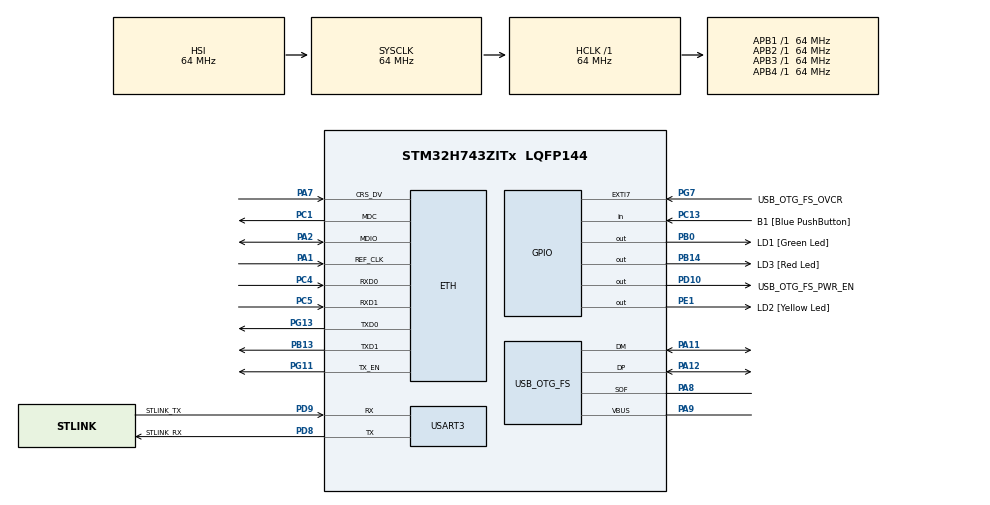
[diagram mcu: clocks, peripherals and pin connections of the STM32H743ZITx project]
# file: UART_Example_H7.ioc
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ETH.MediaInterface=HAL_ETH_RMII_MODE
Mcu.Family=STM32H7
Mcu.Name=STM32H743ZITx
Mcu.Package=LQFP144
NVIC.PriorityGroup=NVIC_PRIORITYGROUP_4
PA1.Mode=RMII
PA1.Signal=ETH_REF_CLK
PA11.Mode=Device_Only
PA11.Signal=USB_OTG_FS_DM
PA12.Mode=Device_Only
PA12.Signal=USB_OTG_FS_DP
PA2.Mode=RMII
PA2.Signal=ETH_MDIO
PA7.Mode=RMII
PA7.Signal=ETH_CRS_DV
PA8.Mode=Activate_SOF_FS
PA8.Signal=USB_OTG_FS_SOF
PA9.Mode=Activate_VBUS
PA9.Signal=USB_OTG_FS_VBUS
PB0.GPIO_Label=LD1 [Green Led]
PB0.Signal=GPIO_Output
PB13.Mode=RMII
PB13.Signal=ETH_TXD1
PB14.GPIO_Label=LD3 [Red Led]
PB14.Signal=GPIO_Output
PC1.Mode=RMII
PC1.Signal=ETH_MDC
PC13.GPIO_Label=B1 [Blue PushButton]
PC13.Signal=GPIO_Input
PC14-OSC32_IN\ (OSC32_IN).Mode=LSE-External-Oscillator
PC14-OSC32_IN\ (OSC32_IN).Signal=RCC_OSC32_IN
PC15-OSC32_OUT\ (OSC32_OUT).Mode=LSE-External-Oscillator
PC15-OSC32_OUT\ (OSC32_OUT).Signal=RCC_OSC32_OUT
PC4.Mode=RMII
PC4.Signal=ETH_RXD0
PC5.Mode=RMII
PC5.Signal=ETH_RXD1
PD10.GPIO_Label=USB_OTG_FS_PWR_EN
PD10.Signal=GPIO_Output
PD8.GPIO_Label=STLINK_RX
PD8.Mode=Asynchronous
PD8.Signal=USART3_TX
PD9.GPIO_Label=STLINK_TX
PD9.Mode=Asynchronous
PD9.Signal=USART3_RX
PE1.GPIO_Label=LD2 [Yellow Led]
PE1.Signal=GPIO_Output
PG11.Mode=RMII
PG11.Signal=ETH_TX_EN
PG13.Mode=RMII
PG13.Signal=ETH_TXD0
PG7.GPIO_Label=USB_OTG_FS_OVCR
PG7.Signal=GPXTI7
PH0-OSC_IN\ (PH0).Mode=HSE-External-Clock-Source
PH0-OSC_IN\ (PH0).Signal=RCC_OSC_IN
PH1-OSC_OUT\ (PH1).Signal=RCC_OSC_OUT
ProjectManager.HeapSize=0x200
ProjectManager.StackSize=0x400
ProjectManager.TargetToolchain=STM32CubeIDE
RCC.ADCFreq_Value=16125000
RCC.APB1Freq_Value=64000000
RCC.APB2Freq_Value=64000000
RCC.APB3Freq_Value=64000000
RCC.APB4Freq_Value=64000000
RCC.CortexFreq_Value=64000000
RCC.DIVM1=1
RCC.DIVN1=24
RCC.DIVQ1=4
RCC.HCLKFreq_Value=64000000
RCC.HSE_VALUE=8000000
RCC.PLLFRACN=0
RCC.PWR_Regulator_Voltage_Scale=PWR_REGULATOR_VOLTAGE_SCALE2
RCC.SYSCLKFreq_VALUE=64000000
RCC.USBFreq_Value=48000000
USART3.VirtualMode-Asynchronous=VM_ASYNC
USB_OTG_FS.VirtualMode=Device_Only
board=NUCLEO-H743ZI2

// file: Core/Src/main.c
/* USER CODE BEGIN Header */
/**
  ******************************************************************************
  * @file           : main.c
  * @brief          : Main program body
  ******************************************************************************
  * @attention
  *
  * <h2><center>&copy; Copyright (c) 2021 STMicroelectronics.
  * All rights reserved.</center></h2>
  *
  * This software component is licensed by ST under BSD 3-Clause license,
  * the "License"; You may not use this file except in compliance with the
  * License. You may obtain a copy of the License at:
  *                        opensource.org/licenses/BSD-3-Clause
  *
  ******************************************************************************
  */
/* USER CODE END Header */
#include "main.h"
#include "string.h"

/* USER CODE BEGIN Includes */
#include <stdio.h>
/* USER CODE END Includes */

#if defined ( __ICCARM__ ) /*!< IAR Compiler */

#pragma location=0x30040000
ETH_DMADescTypeDef  DMARxDscrTab[ETH_RX_DESC_CNT]; /* Ethernet Rx DMA Descriptors */
#pragma location=0x30040060
ETH_DMADescTypeDef  DMATxDscrTab[ETH_TX_DESC_CNT]; /* Ethernet Tx DMA Descriptors */
#pragma location=0x30040200
uint8_t Rx_Buff[ETH_RX_DESC_CNT][ETH_MAX_PACKET_SIZE]; /* Ethernet Receive Buffers */

#elif defined ( __CC_ARM )  /* MDK ARM Compiler */

__attribute__((at(0x30040000))) ETH_DMADescTypeDef  DMARxDscrTab[ETH_RX_DESC_CNT]; /* Ethernet Rx DMA Descriptors */
__attribute__((at(0x30040060))) ETH_DMADescTypeDef  DMATxDscrTab[ETH_TX_DESC_CNT]; /* Ethernet Tx DMA Descriptors */
__attribute__((at(0x30040200))) uint8_t Rx_Buff[ETH_RX_DESC_CNT][ETH_MAX_PACKET_SIZE]; /* Ethernet Receive Buffer */

#elif defined ( __GNUC__ ) /* GNU Compiler */

ETH_DMADescTypeDef DMARxDscrTab[ETH_RX_DESC_CNT] __attribute__((section(".RxDecripSection"))); /* Ethernet Rx DMA Descriptors */
ETH_DMADescTypeDef DMATxDscrTab[ETH_TX_DESC_CNT] __attribute__((section(".TxDecripSection")));   /* Ethernet Tx DMA Descriptors */
uint8_t Rx_Buff[ETH_RX_DESC_CNT][ETH_MAX_PACKET_SIZE] __attribute__((section(".RxArraySection"))); /* Ethernet Receive Buffers */

#endif

ETH_TxPacketConfig TxConfig;

ETH_HandleTypeDef heth;

UART_HandleTypeDef huart3;

PCD_HandleTypeDef hpcd_USB_OTG_FS;

void SystemClock_Config(void);
static void MX_GPIO_Init(void);
static void MX_ETH_Init(void);
static void MX_USART3_UART_Init(void);
static void MX_USB_OTG_FS_PCD_Init(void);
/* USER CODE BEGIN PFP */
#ifdef __GNUC__
/* With GCC, small printf (option LD Linker->Libraries->Small printf
   set to 'Yes') calls __io_putchar() */
#define PUTCHAR_PROTOTYPE int __io_putchar(int ch)
#define GETCHAR_PROTOTYPE int __io_getchar()
#else
#define PUTCHAR_PROTOTYPE int fputc(int ch, FILE *f)
#endif /* __GNUC__ */
/* USER CODE END PFP */

int main(void)
{

  /* MCU Configuration--------------------------------------------------------*/

  /* Reset of all peripherals, Initializes the Flash interface and the Systick. */
  HAL_Init();

  /* Configure the system clock */
  SystemClock_Config();

  /* USER CODE BEGIN SysInit */
  /* Initialize BSP Led for LED2 */
  BSP_LED_Init(LED2);
  /* USER CODE END SysInit */

  /* Initialize all configured peripherals */
  MX_GPIO_Init();
  MX_ETH_Init();
  MX_USART3_UART_Init();
  MX_USB_OTG_FS_PCD_Init();
  /* USER CODE BEGIN 2 */

  /* Output a message on Hyperterminal using printf function */
  printf("\n\r UART Printf Example: retarget the C library printf function to the UART\n\r");
  printf("** Test finished successfully. ** \n\r");

  char str[20];

  setvbuf(stdin, NULL, _IONBF, 0);

  /* USER CODE END 2 */

  /* Infinite loop */
  /* USER CODE BEGIN WHILE */
  while (1)
  {
	printf("\n\r Enter your name:\n\r");

	scanf("%s",str);

	printf("\n\r Your name is: %s \n\r",str);
    /* USER CODE END WHILE */

  }
}

void SystemClock_Config(void)
{
  RCC_OscInitTypeDef RCC_OscInitStruct = {0};
  RCC_ClkInitTypeDef RCC_ClkInitStruct = {0};

  /** Supply configuration update enable
  */
  HAL_PWREx_ConfigSupply(PWR_LDO_SUPPLY);
  /** Configure the main internal regulator output voltage
  */
  __HAL_PWR_VOLTAGESCALING_CONFIG(PWR_REGULATOR_VOLTAGE_SCALE2);

  while(!__HAL_PWR_GET_FLAG(PWR_FLAG_VOSRDY)) {}
  /** Initializes the RCC Oscillators according to the specified parameters
  * in the RCC_OscInitTypeDef structure.
  */
  RCC_OscInitStruct.OscillatorType = RCC_OSCILLATORTYPE_HSI|RCC_OSCILLATORTYPE_HSE;
  RCC_OscInitStruct.HSEState = RCC_HSE_BYPASS;
  RCC_OscInitStruct.HSIState = RCC_HSI_DIV1;
  RCC_OscInitStruct.HSICalibrationValue = RCC_HSICALIBRATION_DEFAULT;
  RCC_OscInitStruct.PLL.PLLState = RCC_PLL_ON;
  RCC_OscInitStruct.PLL.PLLSource = RCC_PLLSOURCE_HSE;
  RCC_OscInitStruct.PLL.PLLM = 1;
  RCC_OscInitStruct.PLL.PLLN = 24;
  RCC_OscInitStruct.PLL.PLLP = 2;
  RCC_OscInitStruct.PLL.PLLQ = 4;
  RCC_OscInitStruct.PLL.PLLR = 2;
  RCC_OscInitStruct.PLL.PLLRGE = RCC_PLL1VCIRANGE_3;
  RCC_OscInitStruct.PLL.PLLVCOSEL = RCC_PLL1VCOWIDE;
  RCC_OscInitStruct.PLL.PLLFRACN = 0;
  if (HAL_RCC_OscConfig(&RCC_OscInitStruct) != HAL_OK)
  {
    Error_Handler();
  }
  /** Initializes the CPU, AHB and APB buses clocks
  */
  RCC_ClkInitStruct.ClockType = RCC_CLOCKTYPE_HCLK|RCC_CLOCKTYPE_SYSCLK
                              |RCC_CLOCKTYPE_PCLK1|RCC_CLOCKTYPE_PCLK2
                              |RCC_CLOCKTYPE_D3PCLK1|RCC_CLOCKTYPE_D1PCLK1;
  RCC_ClkInitStruct.SYSCLKSource = RCC_SYSCLKSOURCE_HSI;
  RCC_ClkInitStruct.SYSCLKDivider = RCC_SYSCLK_DIV1;
  RCC_ClkInitStruct.AHBCLKDivider = RCC_HCLK_DIV1;
  RCC_ClkInitStruct.APB3CLKDivider = RCC_APB3_DIV1;
  RCC_ClkInitStruct.APB1CLKDivider = RCC_APB1_DIV1;
  RCC_ClkInitStruct.APB2CLKDivider = RCC_APB2_DIV1;
  RCC_ClkInitStruct.APB4CLKDivider = RCC_APB4_DIV1;

  if (HAL_RCC_ClockConfig(&RCC_ClkInitStruct, FLASH_LATENCY_1) != HAL_OK)
  {
    Error_Handler();
  }
}

static void MX_ETH_Init(void)
{

   static uint8_t MACAddr[6];

  heth.Instance = ETH;
  MACAddr[0] = 0x00;
  MACAddr[1] = 0x80;
  MACAddr[2] = 0xE1;
  MACAddr[3] = 0x00;
  MACAddr[4] = 0x00;
  MACAddr[5] = 0x00;
  heth.Init.MACAddr = &MACAddr[0];
  heth.Init.MediaInterface = HAL_ETH_RMII_MODE;
  heth.Init.TxDesc = DMATxDscrTab;
  heth.Init.RxDesc = DMARxDscrTab;
  heth.Init.RxBuffLen = 1524;

  if (HAL_ETH_Init(&heth) != HAL_OK)
  {
    Error_Handler();
  }

  memset(&TxConfig, 0 , sizeof(ETH_TxPacketConfig));
  TxConfig.Attributes = ETH_TX_PACKETS_FEATURES_CSUM | ETH_TX_PACKETS_FEATURES_CRCPAD;
  TxConfig.ChecksumCtrl = ETH_CHECKSUM_IPHDR_PAYLOAD_INSERT_PHDR_CALC;
  TxConfig.CRCPadCtrl = ETH_CRC_PAD_INSERT;

}

static void MX_USART3_UART_Init(void)
{

  huart3.Instance = USART3;
  huart3.Init.BaudRate = 115200;
  huart3.Init.WordLength = UART_WORDLENGTH_8B;
  huart3.Init.StopBits = UART_STOPBITS_1;
  huart3.Init.Parity = UART_PARITY_NONE;
  huart3.Init.Mode = UART_MODE_TX_RX;
  huart3.Init.HwFlowCtl = UART_HWCONTROL_NONE;
  huart3.Init.OverSampling = UART_OVERSAMPLING_16;
  huart3.Init.OneBitSampling = UART_ONE_BIT_SAMPLE_DISABLE;
  huart3.Init.ClockPrescaler = UART_PRESCALER_DIV1;
  huart3.AdvancedInit.AdvFeatureInit = UART_ADVFEATURE_NO_INIT;
  if (HAL_UART_Init(&huart3) != HAL_OK)
  {
    Error_Handler();
  }
  if (HAL_UARTEx_SetTxFifoThreshold(&huart3, UART_TXFIFO_THRESHOLD_1_8) != HAL_OK)
  {
    Error_Handler();
  }
  if (HAL_UARTEx_SetRxFifoThreshold(&huart3, UART_RXFIFO_THRESHOLD_1_8) != HAL_OK)
  {
    Error_Handler();
  }
  if (HAL_UARTEx_DisableFifoMode(&huart3) != HAL_OK)
  {
    Error_Handler();
  }

}

static void MX_USB_OTG_FS_PCD_Init(void)
{

  hpcd_USB_OTG_FS.Instance = USB_OTG_FS;
  hpcd_USB_OTG_FS.Init.dev_endpoints = 9;
  hpcd_USB_OTG_FS.Init.speed = PCD_SPEED_FULL;
  hpcd_USB_OTG_FS.Init.dma_enable = DISABLE;
  hpcd_USB_OTG_FS.Init.phy_itface = PCD_PHY_EMBEDDED;
  hpcd_USB_OTG_FS.Init.Sof_enable = ENABLE;
  hpcd_USB_OTG_FS.Init.low_power_enable = DISABLE;
  hpcd_USB_OTG_FS.Init.lpm_enable = DISABLE;
  hpcd_USB_OTG_FS.Init.battery_charging_enable = ENABLE;
  hpcd_USB_OTG_FS.Init.vbus_sensing_enable = ENABLE;
  hpcd_USB_OTG_FS.Init.use_dedicated_ep1 = DISABLE;
  if (HAL_PCD_Init(&hpcd_USB_OTG_FS) != HAL_OK)
  {
    Error_Handler();
  }

}

static void MX_GPIO_Init(void)
{
  GPIO_InitTypeDef GPIO_InitStruct = {0};

  /* GPIO Ports Clock Enable */
  __HAL_RCC_GPIOC_CLK_ENABLE();
  __HAL_RCC_GPIOH_CLK_ENABLE();
  __HAL_RCC_GPIOA_CLK_ENABLE();
  __HAL_RCC_GPIOB_CLK_ENABLE();
  __HAL_RCC_GPIOD_CLK_ENABLE();
  __HAL_RCC_GPIOG_CLK_ENABLE();
  __HAL_RCC_GPIOE_CLK_ENABLE();

  /*Configure GPIO pin Output Level */
  HAL_GPIO_WritePin(GPIOB, LD1_Pin|LD3_Pin, GPIO_PIN_RESET);

  /*Configure GPIO pin Output Level */
  HAL_GPIO_WritePin(USB_OTG_FS_PWR_EN_GPIO_Port, USB_OTG_FS_PWR_EN_Pin, GPIO_PIN_RESET);

  /*Configure GPIO pin Output Level */
  HAL_GPIO_WritePin(LD2_GPIO_Port, LD2_Pin, GPIO_PIN_RESET);

  /*Configure GPIO pin : B1_Pin */
  GPIO_InitStruct.Pin = B1_Pin;
  GPIO_InitStruct.Mode = GPIO_MODE_INPUT;
  GPIO_InitStruct.Pull = GPIO_NOPULL;
  HAL_GPIO_Init(B1_GPIO_Port, &GPIO_InitStruct);

  /*Configure GPIO pins : LD1_Pin LD3_Pin */
  GPIO_InitStruct.Pin = LD1_Pin|LD3_Pin;
  GPIO_InitStruct.Mode = GPIO_MODE_OUTPUT_PP;
  GPIO_InitStruct.Pull = GPIO_NOPULL;
  GPIO_InitStruct.Speed = GPIO_SPEED_FREQ_LOW;
  HAL_GPIO_Init(GPIOB, &GPIO_InitStruct);

  /*Configure GPIO pin : USB_OTG_FS_PWR_EN_Pin */
  GPIO_InitStruct.Pin = USB_OTG_FS_PWR_EN_Pin;
  GPIO_InitStruct.Mode = GPIO_MODE_OUTPUT_PP;
  GPIO_InitStruct.Pull = GPIO_NOPULL;
  GPIO_InitStruct.Speed = GPIO_SPEED_FREQ_LOW;
  HAL_GPIO_Init(USB_OTG_FS_PWR_EN_GPIO_Port, &GPIO_InitStruct);

  /*Configure GPIO pin : USB_OTG_FS_OVCR_Pin */
  GPIO_InitStruct.Pin = USB_OTG_FS_OVCR_Pin;
  GPIO_InitStruct.Mode = GPIO_MODE_IT_RISING;
  GPIO_InitStruct.Pull = GPIO_NOPULL;
  HAL_GPIO_Init(USB_OTG_FS_OVCR_GPIO_Port, &GPIO_InitStruct);

  /*Configure GPIO pin : LD2_Pin */
  GPIO_InitStruct.Pin = LD2_Pin;
  GPIO_InitStruct.Mode = GPIO_MODE_OUTPUT_PP;
  GPIO_InitStruct.Pull = GPIO_NOPULL;
  GPIO_InitStruct.Speed = GPIO_SPEED_FREQ_LOW;
  HAL_GPIO_Init(LD2_GPIO_Port, &GPIO_InitStruct);

}

/* USER CODE BEGIN 4 */

/**
  * @brief  Retargets the C library printf and scanf functions to the UART.
  * @param  None
  * @retval None
  */

PUTCHAR_PROTOTYPE
{
  /* Place your implementation of fputc here */
  /* e.g. write a character to the LPUART1 and Loop until the end of transmission */
  HAL_UART_Transmit(&huart3, (uint8_t *)&ch, 1, 0xFFFF);

  return ch;
}

GETCHAR_PROTOTYPE
{
	uint8_t ch;

	HAL_UART_Receive(&huart3, &ch, 1, 0xFFFF);

	return ch;
}

/* USER CODE END 4 */

void Error_Handler(void)
{
  __disable_irq();
  while (1)
  {
  }
}

/************************ (C) COPYRIGHT STMicroelectronics *****END OF FILE****/
